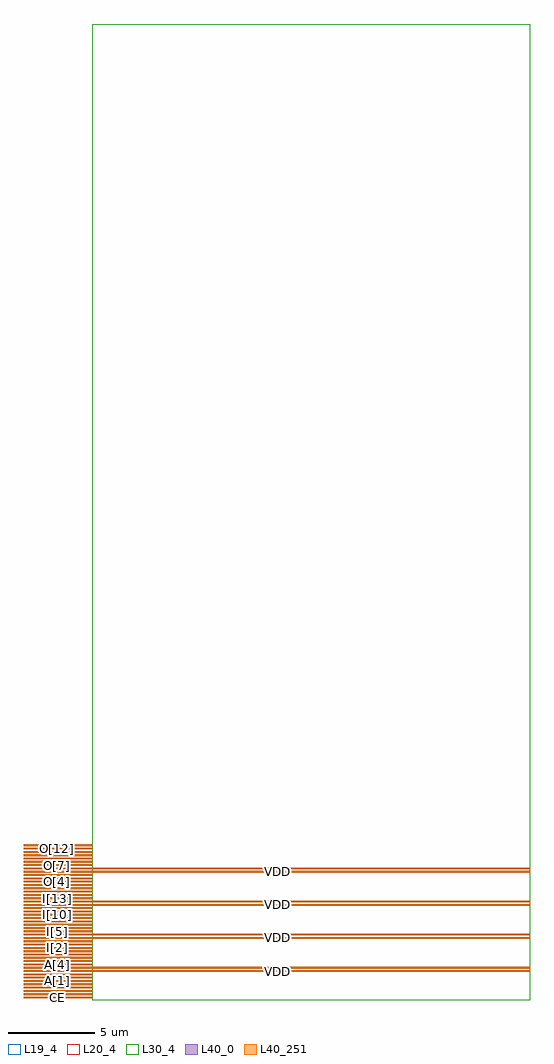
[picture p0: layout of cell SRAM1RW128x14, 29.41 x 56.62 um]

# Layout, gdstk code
import gdstk
lib = gdstk.Library(unit=1e-6, precision=1e-09)
def R(c, l, rs):  # rectangles x0, y0, x1, y1
    for r in rs: c.add(gdstk.rectangle(r[:2], r[2:], *l))
def A(c, l, x, y, w, h, nx, ny, dx, dy):  # array of equal rectangles
    R(c, l, [(x+i*dx, y+j*dy, x+i*dx+w, y+j*dy+h) for i in range(nx) for j in range(ny)])
L19_4 = (19, 4)
L20_4 = (20, 4)
L30_4 = (30, 4)
L40_0 = (40, 0)
L40_251 = (40, 251)

sram1rw128x14 = lib.new_cell('SRAM1RW128x14')
R(sram1rw128x14, L19_4, [(4,0,29.408,56.616)])
R(sram1rw128x14, L20_4, [(4,0,29.408,56.616)])
R(sram1rw128x14, L30_4, [(4,0,29.408,56.616)])
A(sram1rw128x14, L40_0, 0, 0.096, 4, 0.096, 1, 8, 0, 0.192)
A(sram1rw128x14, L40_0, 0, 2.016, 4, 0.096, 1, 8, 0, 0.192)
A(sram1rw128x14, L40_0, 0, 3.936, 4, 0.096, 1, 8, 0, 0.192)
A(sram1rw128x14, L40_0, 0, 5.856, 4, 0.096, 1, 8, 0, 0.192)
A(sram1rw128x14, L40_0, 0, 7.776, 4, 0.096, 1, 7, 0, 0.192)
R(sram1rw128x14, L40_0, [(0,1.632,29.408,1.728), (0,1.824,29.408,1.92), (0,3.552,29.408,3.648), (0,3.744,29.408,3.84), (0,5.472,29.408,5.568), (0,5.664,29.408,5.76), (0,7.392,29.408,7.488), (0,7.584,29.408,7.68)])
A(sram1rw128x14, L40_251, 0, 0.096, 4, 0.096, 1, 8, 0, 0.192)
A(sram1rw128x14, L40_251, 0, 2.016, 4, 0.096, 1, 8, 0, 0.192)
A(sram1rw128x14, L40_251, 0, 3.936, 4, 0.096, 1, 8, 0, 0.192)
A(sram1rw128x14, L40_251, 0, 5.856, 4, 0.096, 1, 8, 0, 0.192)
A(sram1rw128x14, L40_251, 0, 7.776, 4, 0.096, 1, 7, 0, 0.192)
R(sram1rw128x14, L40_251, [(0,1.632,29.408,1.728), (0,1.824,29.408,1.92), (0,3.552,29.408,3.648), (0,3.744,29.408,3.84), (0,5.472,29.408,5.568), (0,5.664,29.408,5.76), (0,7.392,29.408,7.488), (0,7.584,29.408,7.68)])
sram1rw128x14.add(gdstk.Label('CE', (2,0.144), layer=40, texttype=0))
sram1rw128x14.add(gdstk.Label('WEB', (2,0.336), layer=40, texttype=0))
sram1rw128x14.add(gdstk.Label('OEB', (2,0.528), layer=40, texttype=0))
sram1rw128x14.add(gdstk.Label('CSB', (2,0.72), layer=40, texttype=0))
sram1rw128x14.add(gdstk.Label('A[0]', (2,0.912), layer=40, texttype=0))
sram1rw128x14.add(gdstk.Label('A[1]', (2,1.104), layer=40, texttype=0))
sram1rw128x14.add(gdstk.Label('A[2]', (2,1.296), layer=40, texttype=0))
sram1rw128x14.add(gdstk.Label('A[3]', (2,1.488), layer=40, texttype=0))
sram1rw128x14.add(gdstk.Label('A[4]', (2,2.064), layer=40, texttype=0))
sram1rw128x14.add(gdstk.Label('A[5]', (2,2.256), layer=40, texttype=0))
sram1rw128x14.add(gdstk.Label('A[6]', (2,2.448), layer=40, texttype=0))
sram1rw128x14.add(gdstk.Label('I[0]', (2,2.64), layer=40, texttype=0))
sram1rw128x14.add(gdstk.Label('I[1]', (2,2.832), layer=40, texttype=0))
sram1rw128x14.add(gdstk.Label('I[2]', (2,3.024), layer=40, texttype=0))
sram1rw128x14.add(gdstk.Label('I[3]', (2,3.216), layer=40, texttype=0))
sram1rw128x14.add(gdstk.Label('I[4]', (2,3.408), layer=40, texttype=0))
sram1rw128x14.add(gdstk.Label('I[5]', (2,3.984), layer=40, texttype=0))
sram1rw128x14.add(gdstk.Label('I[6]', (2,4.176), layer=40, texttype=0))
sram1rw128x14.add(gdstk.Label('I[7]', (2,4.368), layer=40, texttype=0))
sram1rw128x14.add(gdstk.Label('I[8]', (2,4.56), layer=40, texttype=0))
sram1rw128x14.add(gdstk.Label('I[9]', (2,4.752), layer=40, texttype=0))
sram1rw128x14.add(gdstk.Label('I[10]', (2,4.944), layer=40, texttype=0))
sram1rw128x14.add(gdstk.Label('I[11]', (2,5.136), layer=40, texttype=0))
sram1rw128x14.add(gdstk.Label('I[12]', (2,5.328), layer=40, texttype=0))
sram1rw128x14.add(gdstk.Label('I[13]', (2,5.904), layer=40, texttype=0))
sram1rw128x14.add(gdstk.Label('O[0]', (2,6.096), layer=40, texttype=0))
sram1rw128x14.add(gdstk.Label('O[1]', (2,6.288), layer=40, texttype=0))
sram1rw128x14.add(gdstk.Label('O[2]', (2,6.48), layer=40, texttype=0))
sram1rw128x14.add(gdstk.Label('O[3]', (2,6.672), layer=40, texttype=0))
sram1rw128x14.add(gdstk.Label('O[4]', (2,6.864), layer=40, texttype=0))
sram1rw128x14.add(gdstk.Label('O[5]', (2,7.056), layer=40, texttype=0))
sram1rw128x14.add(gdstk.Label('O[6]', (2,7.248), layer=40, texttype=0))
sram1rw128x14.add(gdstk.Label('O[7]', (2,7.824), layer=40, texttype=0))
sram1rw128x14.add(gdstk.Label('O[8]', (2,8.016), layer=40, texttype=0))
sram1rw128x14.add(gdstk.Label('O[9]', (2,8.208), layer=40, texttype=0))
sram1rw128x14.add(gdstk.Label('O[10]', (2,8.4), layer=40, texttype=0))
sram1rw128x14.add(gdstk.Label('O[11]', (2,8.592), layer=40, texttype=0))
sram1rw128x14.add(gdstk.Label('O[12]', (2,8.784), layer=40, texttype=0))
sram1rw128x14.add(gdstk.Label('O[13]', (2,8.976), layer=40, texttype=0))
sram1rw128x14.add(gdstk.Label('VDD', (14.704,1.68), layer=40, texttype=0))
sram1rw128x14.add(gdstk.Label('VDD', (14.704,3.6), layer=40, texttype=0))
sram1rw128x14.add(gdstk.Label('VDD', (14.704,5.52), layer=40, texttype=0))
sram1rw128x14.add(gdstk.Label('VDD', (14.704,7.44), layer=40, texttype=0))
sram1rw128x14.add(gdstk.Label('VSS', (14.704,1.872), layer=40, texttype=0))
sram1rw128x14.add(gdstk.Label('VSS', (14.704,3.792), layer=40, texttype=0))
sram1rw128x14.add(gdstk.Label('VSS', (14.704,5.712), layer=40, texttype=0))
sram1rw128x14.add(gdstk.Label('VSS', (14.704,7.632), layer=40, texttype=0))

lib.write_gds('SRAM1RW128x14.gds')
